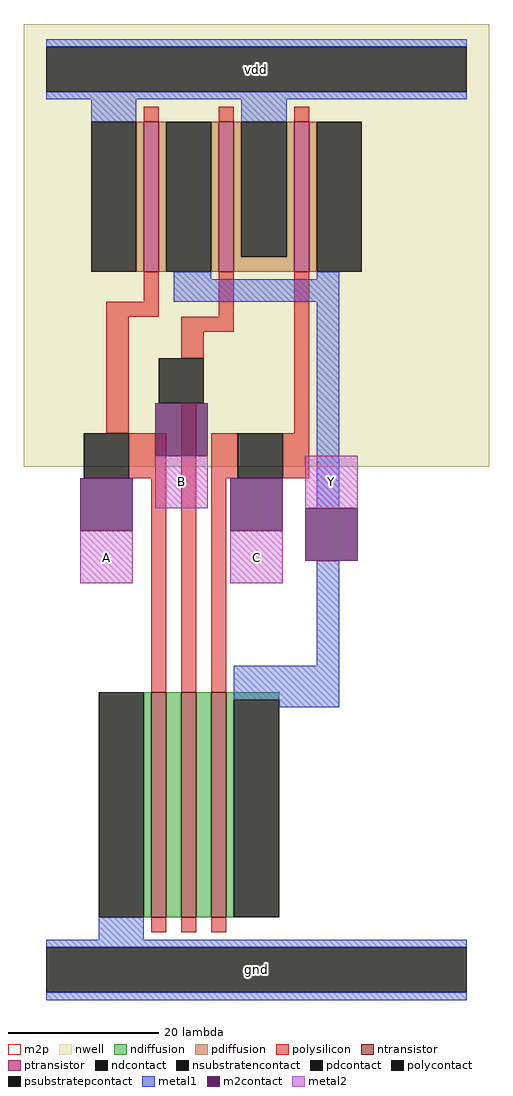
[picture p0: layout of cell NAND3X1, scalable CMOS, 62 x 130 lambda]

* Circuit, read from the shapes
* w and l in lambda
.subckt NAND3X1 A B C Y vdd gnd
M1 n1 A gnd gnd nfet w=30 l=2
M2 n2 B n1 gnd nfet w=30 l=2
M3 Y C n2 gnd nfet w=30 l=2
M4 Y A vdd vdd pfet w=20 l=2
M5 vdd B Y vdd pfet w=20 l=2
M6 Y C vdd vdd pfet w=20 l=2
.ends

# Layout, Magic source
magic
tech scmos
magscale 1 2
<< nwell >>
rect -12 134 112 252
<< ntransistor >>
rect 22 14 26 74
rect 30 14 34 74
rect 38 14 42 74
<< ptransistor >>
rect 20 186 24 226
rect 40 186 44 226
rect 60 186 64 226
<< ndiffusion >>
rect 20 14 22 74
rect 26 14 30 74
rect 34 14 38 74
rect 42 72 56 74
rect 42 14 44 72
<< pdiffusion >>
rect 18 186 20 226
rect 24 186 26 226
rect 38 186 40 226
rect 44 190 46 226
rect 58 190 60 226
rect 44 186 60 190
rect 64 186 66 226
<< ndcontact >>
rect 8 14 20 74
rect 44 14 56 72
<< pdcontact >>
rect 6 186 18 226
rect 26 186 38 226
rect 46 190 58 226
rect 66 186 78 226
<< psubstratepcontact >>
rect -6 -6 106 6
<< nsubstratencontact >>
rect -6 234 106 246
<< polysilicon >>
rect 20 226 24 230
rect 40 226 44 230
rect 60 226 64 230
rect 20 178 24 186
rect 10 174 24 178
rect 40 174 44 186
rect 10 143 16 174
rect 30 170 44 174
rect 30 163 36 170
rect 16 131 26 143
rect 22 74 26 131
rect 30 74 34 151
rect 60 143 64 186
rect 38 131 45 143
rect 57 131 64 143
rect 38 74 42 131
rect 22 10 26 14
rect 30 10 34 14
rect 38 10 42 14
<< polycontact >>
rect 24 151 36 163
rect 4 131 16 143
rect 45 131 57 143
<< metal1 >>
rect -6 246 106 248
rect -6 232 106 234
rect 6 226 18 232
rect 46 226 58 232
rect 28 184 38 186
rect 66 184 72 186
rect 28 178 72 184
rect 66 123 72 178
rect 66 81 72 109
rect 44 72 72 81
rect 56 70 72 72
rect 8 8 20 14
rect -6 6 106 8
rect -6 -8 106 -6
<< m2contact >>
rect 23 137 37 151
rect 3 117 17 131
rect 43 117 57 131
rect 63 109 77 123
<< metal2 >>
rect 23 123 37 137
rect 3 103 17 117
rect 43 103 57 117
rect 63 123 77 137
<< m2p >>
rect 23 123 37 137
rect 63 123 77 137
rect 3 103 17 117
rect 43 103 57 117
<< labels >>
rlabel metal1 -6 -8 106 8 0 gnd
port 5 nsew ground bidirectional abutment
rlabel metal1 -6 232 106 248 0 vdd
port 4 nsew power bidirectional abutment
rlabel metal2 3 103 17 117 0 A
port 0 nsew signal input
rlabel metal2 23 123 37 137 0 B
port 1 nsew signal input
rlabel metal2 43 103 57 117 0 C
port 2 nsew signal input
rlabel metal2 63 123 77 137 0 Y
port 3 nsew signal output
<< properties >>
string FIXED_BBOX 0 0 100 240
string LEFclass CORE
string LEFsite core
string LEFsymmetry X Y
<< end >>
